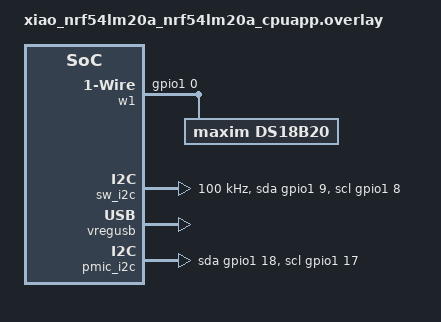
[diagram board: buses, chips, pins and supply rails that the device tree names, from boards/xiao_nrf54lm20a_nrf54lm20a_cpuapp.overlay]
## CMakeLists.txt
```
cmake_minimum_required(VERSION 3.20.0)

find_package(Zephyr REQUIRED HINTS $ENV{ZEPHYR_BASE})

project(TanenBaseTestMeasureLoop)

set(MAIN_SRC ${CMAKE_CURRENT_SOURCE_DIR}/../../src)

target_include_directories(app PRIVATE ${MAIN_SRC})

if(CONFIG_LORA)
    target_include_directories(app PRIVATE
        ${ZEPHYR_LORAMAC_NODE_MODULE_DIR}/src/radio
    )
endif()

target_sources(app PRIVATE
    src/main.c
    ${MAIN_SRC}/core/power.c
    ${MAIN_SRC}/config/config.c
    ${MAIN_SRC}/drivers/weight.c
    ${MAIN_SRC}/drivers/temp.c
    ${MAIN_SRC}/drivers/battery.c
    ${MAIN_SRC}/features/measurement/measure.c
)
```

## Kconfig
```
mainmenu "TanenBase test_app: measure_loop"

source "Kconfig.zephyr"

# Stubs — config.c references these even though LoRa isn't built here.
config TANENBASE_DEV_EUI
	string
	default "0000000000000000"

config TANENBASE_JOIN_EUI
	string
	default "0000000000000000"

config TANENBASE_APP_KEY
	string
	default "00000000000000000000000000000000"

config TANENBASE_DEFAULT_TX_INTERVAL
	int
	default 14400

config TANENBASE_DEFAULT_MS_INTERVAL
	int
	default 5

config TANENBASE_DEFAULT_WEIGHT_THRESHOLD
	int
	default 2000

config TANENBASE_DEFAULT_TEMP_THRESHOLD
	int
	default 500

# config.c seeds the tare temperature from this even with compensation off.
# TANENBASE_TEMPCOMP itself stays undefined here: measure.c only tests it with
# IS_ENABLED(), so the test app measures uncompensated and needs no tempcomp.c.
config TANENBASE_TEMPCOMP_T_REF_MDEG
	int
	default 25000

# The load-cell profile table lives in config.c, so these are needed even
# though nothing here consumes the correction.
config TANENBASE_LC_DEFAULT_PROFILE
	int
	default 1

config TANENBASE_TEMPCOMP_GAIN_MG_PER_K
	int
	default 17734

config TANENBASE_TEMPCOMP_TAU_S
	int
	default 1500

config TANENBASE_TEST_INTERVAL_S
	int "Measure loop interval (seconds)"
	default 5
	help
	  Delay between measurement cycles in the test app.
```

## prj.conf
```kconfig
# test_app: measure_loop — minimal sensor stack, no LoRa/BLE/PM.
CONFIG_GPIO=y
CONFIG_LOG=y
CONFIG_LOG_DEFAULT_LEVEL=3

# UART logging ON so values are visible when J-Link/serial is attached.
# Device still runs the loop with USB unplugged — logs just go nowhere.
CONFIG_SERIAL=y
CONFIG_CONSOLE=y
CONFIG_UART_CONSOLE=y
CONFIG_LOG_BACKEND_UART=y
CONFIG_LOG_BUFFER_SIZE=4096

# I2C — NAU7802 over sw-I2C @ 100 kHz STANDARD
CONFIG_I2C=y
CONFIG_I2C_GPIO=y

# DS18B20 temperature (1-Wire)
CONFIG_SENSOR=y
CONFIG_W1=y
CONFIG_DS18B20=y

# Battery via on-board nPM1300 charger (bit-banged pmic_i2c)
CONFIG_NPM13XX_CHARGER=y
# USB CDC-ACM console: USBHS needs the vregusb regulator device
CONFIG_REGULATOR=y
# LDO1 (imu_vdd, Sense-only rail) stays off — no regulator driver
CONFIG_REGULATOR_NPM13XX=n

# ZMS — config.c persists OCAL1 + zero/scale cal between cycles
CONFIG_ZMS=y
CONFIG_FLASH=y
CONFIG_FLASH_MAP=y
CONFIG_FLASH_PAGE_LAYOUT=y
CONFIG_MPU_ALLOW_FLASH_WRITE=y
CONFIG_ZMS_LOOKUP_CACHE=y
CONFIG_ZMS_LOOKUP_CACHE_SIZE=128

# RNG (config.c uses sys_rand16_get even though we never read DevNonce)
CONFIG_ENTROPY_GENERATOR=y

CONFIG_HWINFO=y
CONFIG_MAIN_STACK_SIZE=4096
CONFIG_HEAP_MEM_POOL_SIZE=4096

# System OFF with GRTC wake (same as main app).
# CONFIG_PM is not settable on nRF54L series (no HAS_PM) — do not add it.
CONFIG_POWEROFF=y
CONFIG_PM_DEVICE=y
CONFIG_REBOOT=y
```

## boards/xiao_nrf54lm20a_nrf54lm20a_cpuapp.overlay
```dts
/* test_app overlay — XIAO nRF54LM20A Standard (non-Sense). NAU7802 on sw-I2C,
 * no LoRa: spi23 disabled so power.c's DEVICE_DT_GET_OR_NULL(spi23) → NULL. */

&spi23 {
	status = "disabled";
};

/* On-board py25q64 NOR (spi00) — unused */
&spi00 {
	status = "disabled";
};

/* Disable uart21 — its pins P1.08/P1.09 are D6/D7 (sw-I2C for NAU7802) */
&uart21 {
	status = "disabled";
};

/* Disable i2c22 — its pins P1.03/P1.07 are D4/D5 */
&i2c22 {
	status = "disabled";
};

/* Non-Sense variant: on-board IMU + PDM mic not populated */
&lsm6ds3tr_c {
	status = "disabled";
};

&i2c30 {
	status = "disabled";
};

&pdm20 {
	status = "disabled";
};

/* pwm20 pinctrl claims the RGB LED pins P1.22-24 */
&pwm20 {
	status = "disabled";
};

&nfct {
	status = "disabled";
};

/* power_en (P1.12) is not connected in the schematic */
&power_en {
	/delete-property/ regulator-boot-on;
	status = "disabled";
};

/* USB CDC-ACM console: usbhs needs the vregusb (USB VBUS) regulator device */
&vregusb {
	status = "okay";
};

/* Fix PMIC GPIO-I2C pins: SDA=P1.18, SCL=P1.17 (board dtsi bug: P1.15/P1.16) */
&pmic_i2c {
	sda-gpios = <&gpio1 18 GPIO_ACTIVE_HIGH>;
	scl-gpios = <&gpio1 17 GPIO_ACTIVE_HIGH>;
};

/ {
	chosen {
		zephyr,settings-partition = &storage_partition;
	};

	w1: w1 {
		compatible = "zephyr,w1-gpio";
		gpios = <&gpio1 0 (GPIO_ACTIVE_HIGH | GPIO_OPEN_DRAIN | GPIO_PULL_UP)>;	/* D0 */

		ds18b20: ds18b20 {
			compatible = "maxim,ds18b20";
			resolution = <10>;
		};
	};

	sw_i2c: sw_i2c {
		compatible = "gpio-i2c";
		sda-gpios = <&gpio1 9 (GPIO_ACTIVE_HIGH | GPIO_OPEN_DRAIN)>;	/* D7 */
		scl-gpios = <&gpio1 8 (GPIO_ACTIVE_HIGH | GPIO_OPEN_DRAIN)>;	/* D6 */
		clock-frequency = <I2C_BITRATE_STANDARD>;
		#address-cells = <1>;
		#size-cells = <0>;
		/* NAU7802 (addr 0x2A) driven directly from src/drivers/weight.c —
		 * no DT child node needed. */
	};
};
```

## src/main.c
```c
/* test_app: measure_loop
 * Repeats MEASUREMENT phase every N seconds using System OFF (GRTC wake).
 * Mirrors fsm_measure_and_decide ordering so PPK2 trace matches production:
 *   measure_init -> measure_run -> weight_sleep -> power_off(N) -> reboot
 * No LoRa/BLE/anomaly. Works standalone — USB/UART optional. */

#include <zephyr/kernel.h>
#include <zephyr/logging/log.h>
#include <zephyr/sys/reboot.h>
#if IS_ENABLED(CONFIG_LORA)
#include <radio.h>
#endif
#include "config/config.h"
#include "core/power.h"
#include "features/measurement/measure.h"
#include "drivers/weight.h"

LOG_MODULE_REGISTER(test_meas, LOG_LEVEL_INF);

int main(void)
{
    wake_reason_t reason = power_get_wake_reason();

    /* SWD recovery window — only on hard reset, skip on GRTC wake to keep
     * sleep-phase trace clean. */
    if (reason == WAKE_REASON_RESET) {
        k_sleep(K_SECONDS(5));
    }

    LOG_INF("=== test_app: measure_loop === (interval %d s)",
            CONFIG_TANENBASE_TEST_INTERVAL_S);

    int ret = config_init();
#if IS_ENABLED(CONFIG_LORA)
    /* 0=SLEEP 1=STDBY_RC 2=STDBY_XOSC 3=FS 4=TX 5=RX 6=RX_DC 7=CAD */
    LOG_INF("SX126x mode after SYS_INIT: %d", SX126xGetOperatingMode());
#endif
    if (ret < 0) {
        LOG_WRN("config_init: %d", ret);
    }

    /* Wake sensors (NAU7802 PUA on, DS18B20 cfg, ADC init) */
    ret = measure_init();
    if (ret < 0) {
        LOG_ERR("measure_init: %d", ret);
    }

    measurement_data_t d;
    ret = measure_run(&d);
    if (ret < 0) {
        LOG_ERR("measure_run: %d", ret);
    }

    /* Power down NAU7802 (PUD=0, ~1µA) before System OFF */
    weight_sleep();

    /* System OFF → GRTC wake → reboot back into main() */
    ret = power_off(CONFIG_TANENBASE_TEST_INTERVAL_S);
    LOG_ERR("power_off returned %d — falling back to k_sleep", ret);
    k_sleep(K_SECONDS(CONFIG_TANENBASE_TEST_INTERVAL_S));
    sys_reboot(SYS_REBOOT_COLD);
    return 0;
}
```
